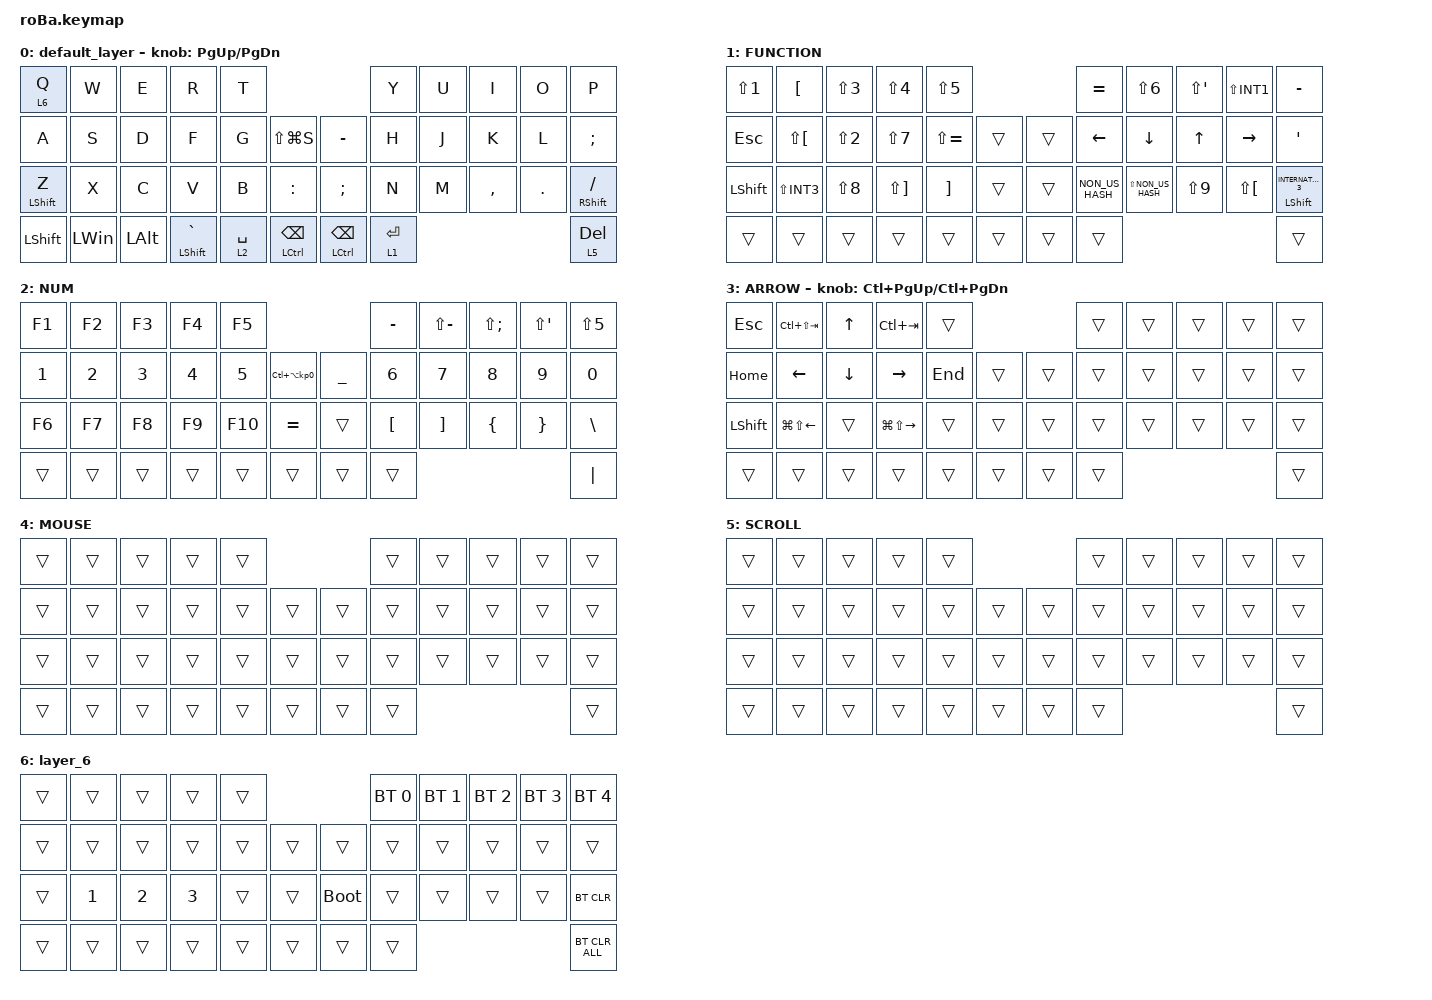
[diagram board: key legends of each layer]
#include <behaviors.dtsi>
#include <dt-bindings/zmk/bt.h>
#include <dt-bindings/zmk/keys.h>
#include <dt-bindings/zmk/pointing.h>
#include "jp.h"

&mt {
    flavor = "balanced";
    quick-tap-ms = <0>;
};

&trackball {
    automouse-layer = <4>;
    scroll-layers = <5>;

    // arrows {
    //     layers = <3>;
    //     bindings =
    //         <&kp RIGHT_ARROW>,
    //         <&kp LEFT_ARROW>,
    //         <&kp UP_ARROW>,
    //         <&kp DOWN_ARROW>;
    //     tick = <10>;
    //     wait-ms = <5>;
    //     tap-ms = <5>;
    // };
};

/ {
    combos {
        compatible = "zmk,combos";

        tab {
            bindings = <&kp TAB>;
            key-positions = <18 19>;
        };

        shift_tab {
            bindings = <&kp LS(TAB)>;
            key-positions = <17 18>;
        };

        mouse_lp {
            bindings = <&mkp MB1>;
            key-positions = <13 12>;
        };

        mouse_rp {
            bindings = <&mkp MB2>;
            key-positions = <12 11>;
        };

        scroll {
            bindings = <&mo 5>;
            key-positions = <13 11>;
        };
    };

    macros {
        to_layer_0: to_layer_0 {
            compatible = "zmk,behavior-macro-one-param";
            #binding-cells = <1>;
            bindings = <&to 0 &macro_param_1to1 &kp MACRO_PLACEHOLDER>;
            label = "TO_LAYER_0";
        };
    };

    behaviors {
        lt_to_layer_0: lt_to_layer_0 {
            compatible = "zmk,behavior-hold-tap";
            label = "LAYER_TAP_TO_0";
            bindings = <&mo>, <&to_layer_0>;

            #binding-cells = <2>;
            tapping-term-ms = <200>;
        };
    };

    keymap {
        compatible = "zmk,keymap";

        default_layer {
            bindings = <
&lt 6 Q           &kp W         &kp E         &kp R                 &kp T                                                      &kp Y        &kp U  &kp I      &kp O    &kp P
&kp A             &kp S         &kp D         &kp F                 &kp G        &kp LS(LG(S))            &kp MINUS            &kp H        &kp J  &kp K      &kp L    &kp SEMICOLON
&mt LEFT_SHIFT Z  &kp X         &kp C         &kp V                 &kp B        &kp COLON                &kp SEMICOLON        &kp N        &kp M  &kp COMMA  &kp DOT  &mt RIGHT_SHIFT SLASH
&kp LEFT_SHIFT    &kp LEFT_WIN  &kp LEFT_ALT  &mt LEFT_SHIFT GRAVE  &lt 2 SPACE  &mt LCTRL BACKSPACE      &mt LCTRL BACKSPACE  &lt 1 ENTER                             &lt 5 DELETE
            >;

            sensor-bindings = <&inc_dec_kp PG_UP PAGE_DOWN>;
        };

        FUNCTION {
            bindings = <
&kp LS(NUMBER_1)  &kp LEFT_BRACKET      &kp LS(NUMBER_3)  &kp LS(NUMBER_4)       &kp LS(N5)                             &kp EQUAL        &kp LS(NUMBER_6)     &kp LS(SINGLE_QUOTE)  &kp LS(INT1)          &kp MINUS
&kp ESCAPE        &kp LS(LEFT_BRACKET)  &kp LS(NUMBER_2)  &kp LS(N7)             &kp LS(EQUAL)      &trans      &trans  &kp LEFT_ARROW   &kp DOWN_ARROW       &kp UP_ARROW          &kp RIGHT             &kp SINGLE_QUOTE
&kp LEFT_SHIFT    &kp LS(INT3)          &kp LS(N8)        &kp LS(RIGHT_BRACKET)  &kp RIGHT_BRACKET  &trans      &trans  &kp NON_US_HASH  &kp LS(NON_US_HASH)  &kp LS(N9)            &kp LS(LEFT_BRACKET)  &mt LEFT_SHIFT INTERNATIONAL_3
&trans            &trans                &trans            &trans                 &trans             &trans      &trans  &trans                                                                            &trans
            >;
        };

        NUM {
            bindings = <
&kp F1        &kp F2        &kp F3        &kp F4        &kp F5                                                &kp MINUS         &kp LS(MINUS)      &kp LS(SEMICOLON)  &kp LS(SINGLE_QUOTE)  &kp LS(N5)
&kp NUMBER_1  &kp NUMBER_2  &kp NUMBER_3  &kp NUMBER_4  &kp N5   &kp LC(LA(KP_NUMBER_0))      &kp UNDERSCORE  &kp NUMBER_6      &kp N7             &kp N8             &kp N9                &kp N0
&kp F6        &kp F7        &kp F8        &kp F9        &kp F10  &kp EQUAL                    &trans          &kp LEFT_BRACKET  &kp RIGHT_BRACKET  &kp LEFT_BRACE     &kp RIGHT_BRACE       &kp BACKSLASH
&trans        &trans        &trans        &trans        &trans   &trans                       &trans          &trans                                                                        &kp PIPE
            >;
        };

        ARROW {
            bindings = <
&kp ESCAPE      &kp LC(LS(TAB))         &kp UP_ARROW    &kp LC(TAB)              &trans                       &trans  &trans  &trans  &trans  &trans
&kp HOME        &kp LEFT_ARROW          &kp DOWN_ARROW  &kp RIGHT_ARROW          &kp END  &trans      &trans  &trans  &trans  &trans  &trans  &trans
&kp LEFT_SHIFT  &kp LG(LS(LEFT_ARROW))  &trans          &kp LG(LS(RIGHT_ARROW))  &trans   &trans      &trans  &trans  &trans  &trans  &trans  &trans
&trans          &trans                  &trans          &trans                   &trans   &trans      &trans  &trans                          &trans
            >;

            sensor-bindings = <&inc_dec_kp LC(PAGE_UP) LC(PAGE_DOWN)>;
        };

        MOUSE {
            bindings = <
&trans  &trans  &trans  &trans  &trans                      &trans  &trans  &trans  &trans  &trans
&trans  &trans  &trans  &trans  &trans  &trans      &trans  &trans  &trans  &trans  &trans  &trans
&trans  &trans  &trans  &trans  &trans  &trans      &trans  &trans  &trans  &trans  &trans  &trans
&trans  &trans  &trans  &trans  &trans  &trans      &trans  &trans                          &trans
            >;
        };

        SCROLL {
            bindings = <
&trans  &trans  &trans  &trans  &trans                      &trans  &trans  &trans  &trans  &trans
&trans  &trans  &trans  &trans  &trans  &trans      &trans  &trans  &trans  &trans  &trans  &trans
&trans  &trans  &trans  &trans  &trans  &trans      &trans  &trans  &trans  &trans  &trans  &trans
&trans  &trans  &trans  &trans  &trans  &trans      &trans  &trans                          &trans
            >;
        };

        layer_6 {
            bindings = <
&trans  &trans        &trans        &trans        &trans                           &bt BT_SEL 0  &bt BT_SEL 1  &bt BT_SEL 2  &bt BT_SEL 3  &bt BT_SEL 4
&trans  &trans        &trans        &trans        &trans  &trans      &trans       &trans        &trans        &trans        &trans        &trans
&trans  &kp NUMBER_1  &kp NUMBER_2  &kp NUMBER_3  &trans  &trans      &bootloader  &trans        &trans        &trans        &trans        &bt BT_CLR
&trans  &trans        &trans        &trans        &trans  &trans      &trans       &trans                                                  &bt BT_CLR_ALL
            >;
        };
    };
};
